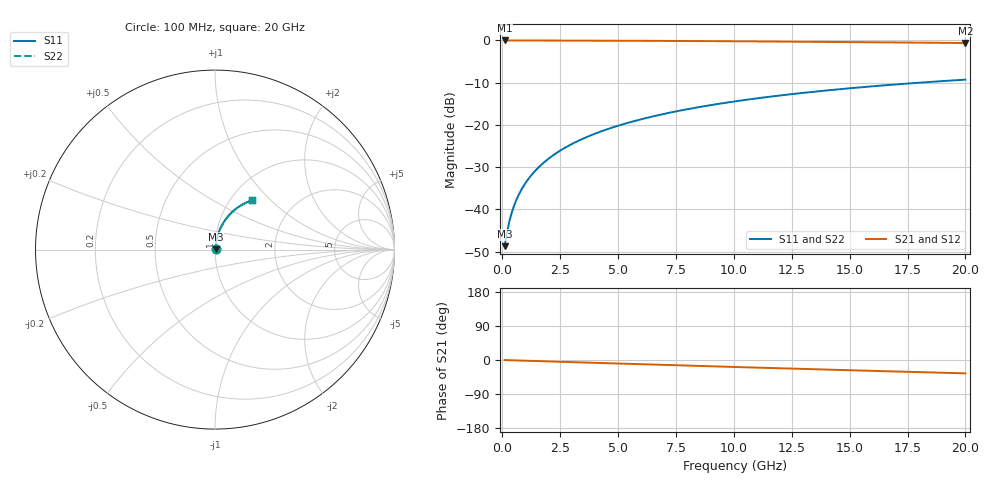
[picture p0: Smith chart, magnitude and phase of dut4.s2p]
! Touchstone file exported from HFSS 2026.1.0
!  File:  C:/ffzhzh/LocalFiles/Ansys_Project_Files/temp_val_BSMRDL_4_1782903117_43084.aedt
!  Generated:  06:53:12 PM Jul  1, 2026
!  Design:  BSMRDL
!  Project:  temp_val_BSMRDL_4_1782903117_43084
! Variables:
!  h_bsmrdl = 2.96um
!  h_ox = 20um
!  h_rdl = 5um
!  h_sub = 80um
!  h_tmrdl = 5um
!  h_tsv = 80um
!  h_via = 3um
!  l_bsmrdl = 487.35um
!  l_sub = 887.35um
!  l_tmrdl = 200um
!  m_sub = 200um
!  pitch = 48.31um
!  r_tsv = 6um
!  s_tmrdl = 10um
!  w_bsmrdl = 21.44um
!  w_sub = 500um
!  w_tmrdl = 12um
!  x_tsv_center1 = 206um
!  x_tsv_center2 = 714.79um
!  x_tsv_center3 = 926.79um
!  x_tsv_center4 = 1435.58um
!  x_tsv_center5 = 1647.58um
!  x_tsv_center6 = 2156.37um
# GHz S MA R 50.000000
! Terminal data exported
! Port[1] = BSM_RDL1_1_T1
! Port[2] = BSM_RDL1_1_T2
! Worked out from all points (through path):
!   200 points, 100 MHz to 20 GHz, reference 50 ohm
!   highest |S21| = -0.03 dB at 100 MHz (marker M1); lowest = -0.6 dB at 20 GHz (marker M2)
!   group delay of S21, straight-line fit = 4.9 ps
!   lowest |S11| = -48.7 dB at 100 MHz (marker M3), VSWR 1.01, Z = 50.3 + j0.216 ohm
!   |S11| at or under -10 dB: start of sweep to 18.08 GHz
!   |S22| runs from -48.7 to -9.3 dB; largest |S21 - S12| = 2.6e-15
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0.1  0.003658 36.0  0.997 -0.2  0.997 -0.2  0.003658 36.0
! Gamma 0 0 0 0
! Port Impedance 50 0 50 0
0.2  0.005256 54.1  0.9969 -0.4  0.9969 -0.4  0.005256 54.1
0.3  0.007089 62.8  0.9968 -0.6  0.9968 -0.6  0.007089 62.8
0.4  0.008975 67.6  0.9967 -0.8  0.9967 -0.8  0.008975 67.6
0.5  0.01087 70.8  0.9965 -1.0  0.9965 -1.0  0.01087 70.8
0.6  0.01277 73.0  0.9964 -1.2  0.9964 -1.2  0.01277 73.0
0.8  0.01658 75.9  0.9963 -1.5  0.9963 -1.5  0.01658 75.8
1.1  0.02233 78.3  0.996 -2.1  0.996 -2.1  0.02233 78.3
1.3  0.02619 79.2  0.9959 -2.5  0.9959 -2.5  0.02619 79.2
1.6  0.032 80.0  0.9956 -3.0  0.9956 -3.0  0.032 80.0
2.1  0.0417 80.6  0.9951 -3.9  0.9951 -3.9  0.0417 80.5
2.7  0.05335 80.5  0.9944 -5.1  0.9944 -5.1  0.05335 80.5
3.5  0.06883 79.8  0.9933 -6.6  0.9933 -6.6  0.06883 79.8
4.2  0.08228 78.9  0.992 -7.9  0.992 -7.9  0.08228 78.9
5  0.09753 77.8  0.9903 -9.3  0.9903 -9.3  0.09753 77.8
5.9  0.1145 76.4  0.9882 -11.0  0.9882 -11.0  0.1145 76.4
6.8  0.1312 74.9  0.9857 -12.6  0.9857 -12.6  0.1312 74.9
8.3  0.1585 72.4  0.9811 -15.3  0.9811 -15.3  0.1585 72.4
10.1  0.1903 69.4  0.9747 -18.5  0.9747 -18.5  0.1903 69.4
13.4  0.2455 63.8  0.9613 -24.3  0.9613 -24.3  0.2455 63.8
16.7  0.2963 58.4  0.9461 -29.9  0.9461 -29.9  0.2963 58.4
20  0.3426 53.2  0.9298 -35.3  0.9298 -35.3  0.3426 53.1
